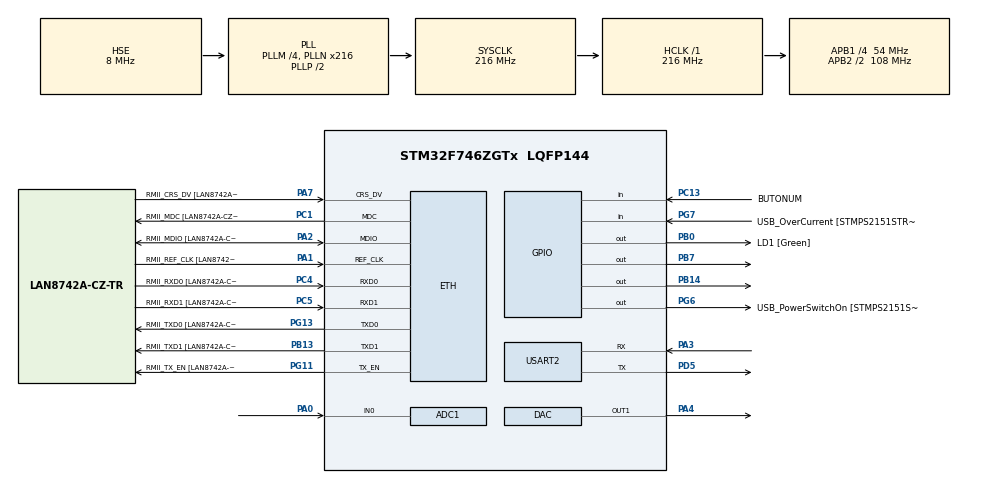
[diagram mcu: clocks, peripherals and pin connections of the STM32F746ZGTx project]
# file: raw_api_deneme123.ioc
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ADC1.Channel-0\#ChannelRegularConversion=ADC_CHANNEL_0
ADC1.NbrOfConversionFlag=1
ADC1.Rank-0\#ChannelRegularConversion=1
ADC1.SamplingTime-0\#ChannelRegularConversion=ADC_SAMPLETIME_15CYCLES
ADC1.master=1
CORTEX_M7.CPU_DCache=Enabled
CORTEX_M7.CPU_ICache=Enabled
CORTEX_M7.PREFETCH_ENABLE=1
CORTEX_M7.default_mode_Activation=0
ETH.MediaInterface=HAL_ETH_RMII_MODE
ETH.PHY_Name=LAN8742A_PHY_ADDRESS
ETH.PHY_Value=0
ETH.PhyAddress=0
LWIP.BSP.number=1
LWIP.GATEWAY_ADDRESS=192.168.088.001
LWIP.IP_ADDRESS=192.168.088.130
LWIP.LWIP_DHCP=0
LWIP.NETMASK_ADDRESS=255.255.255.000
LWIP.Version=v2.1.2_Cube
LWIP0.BSP.STBoard=false
LWIP0.BSP.api=BSP_COMPONENT_DRIVER
LWIP0.BSP.component=LAN8742
LWIP0.BSP.instance=LAN8742
LWIP0.BSP.name=Driver_PHY
LWIP0.BSP.semaphore=S_LAN8742
LWIP0.BSP.solution=LAN8742
Mcu.Family=STM32F7
Mcu.Name=STM32F746ZGTx
Mcu.Package=LQFP144
NVIC.PriorityGroup=NVIC_PRIORITYGROUP_4
PA0/WKUP.Signal=ADCx_IN0
PA1.GPIO_Label=RMII_REF_CLK [LAN8742A-CZ-TR_REFCLK0]
PA1.Mode=RMII
PA1.Signal=ETH_REF_CLK
PA10.GPIO_Label=USB_ID
PA10.Signal=USB_OTG_FS_ID
PA11.GPIO_Label=USB_DM
PA11.Signal=USB_OTG_FS_DM
PA12.GPIO_Label=USB_DP
PA12.Signal=USB_OTG_FS_DP
PA13.GPIO_Label=TMS
PA13.Mode=Serial_Wire
PA13.Signal=SYS_JTMS-SWDIO
PA14.GPIO_Label=TCK
PA14.Mode=Serial_Wire
PA14.Signal=SYS_JTCK-SWCLK
PA2.GPIO_Label=RMII_MDIO [LAN8742A-CZ-TR_MDIO]
PA2.Mode=RMII
PA2.Signal=ETH_MDIO
PA3.Mode=Asynchronous
PA3.Signal=USART2_RX
PA4.Signal=COMP_DAC1_group
PA7.GPIO_Label=RMII_CRS_DV [LAN8742A-CZ-TR_CRS_DV]
PA7.Mode=RMII
PA7.Signal=ETH_CRS_DV
PA8.GPIO_Label=USB_SOF [TP1]
PA8.Signal=USB_OTG_FS_SOF
PA9.GPIO_Label=USB_VBUS
PA9.Signal=USB_OTG_FS_VBUS
PB0.GPIO_Label=LD1 [Green]
PB0.Signal=GPIO_Output
PB13.GPIO_Label=RMII_TXD1 [LAN8742A-CZ-TR_TXD1]
PB13.Mode=RMII
PB13.Signal=ETH_TXD1
PB14.Signal=GPIO_Output
PB3.GPIO_Label=SW0
PB3.Signal=SYS_JTDO-SWO
PB7.Signal=GPIO_Output
PC1.GPIO_Label=RMII_MDC [LAN8742A-CZ-TR_MDC]
PC1.Mode=RMII
PC1.Signal=ETH_MDC
PC13.GPIO_Label=BUTONUM
PC13.Signal=GPIO_Input
PC14/OSC32_IN.Mode=LSE-External-Oscillator
PC14/OSC32_IN.Signal=RCC_OSC32_IN
PC15/OSC32_OUT.Mode=LSE-External-Oscillator
PC15/OSC32_OUT.Signal=RCC_OSC32_OUT
PC4.GPIO_Label=RMII_RXD0 [LAN8742A-CZ-TR_RXD0]
PC4.Mode=RMII
PC4.Signal=ETH_RXD0
PC5.GPIO_Label=RMII_RXD1 [LAN8742A-CZ-TR_RXD1]
PC5.Mode=RMII
PC5.Signal=ETH_RXD1
PD5.Mode=Asynchronous
PD5.Signal=USART2_TX
PD8.GPIO_Label=STLK_RX [STM32F103CBT6_PA3]
PD8.Signal=USART3_TX
PD9.GPIO_Label=STLK_TX [STM32F103CBT6_PA2]
PD9.Signal=USART3_RX
PG11.GPIO_Label=RMII_TX_EN [LAN8742A-CZ-TR_TXEN]
PG11.Mode=RMII
PG11.Signal=ETH_TX_EN
PG13.GPIO_Label=RMII_TXD0 [LAN8742A-CZ-TR_TXD0]
PG13.Mode=RMII
PG13.Signal=ETH_TXD0
PG6.GPIO_Label=USB_PowerSwitchOn [STMPS2151STR_EN]
PG6.Signal=GPIO_Output
PG7.GPIO_Label=USB_OverCurrent [STMPS2151STR_FAULT]
PG7.Signal=GPIO_Input
PH0/OSC_IN.GPIO_Label=MCO [STM32F103CBT6_PA8]
PH0/OSC_IN.Mode=HSE-External-Clock-Source
PH0/OSC_IN.Signal=RCC_OSC_IN
PH1/OSC_OUT.Mode=HSE-External-Clock-Source
PH1/OSC_OUT.Signal=RCC_OSC_OUT
ProjectManager.HeapSize=0x200
ProjectManager.StackSize=0x400
ProjectManager.TargetToolchain=STM32CubeIDE
RCC.48MHZClocksFreq_Value=24000000
RCC.AHBFreq_Value=216000000
RCC.APB1CLKDivider=RCC_HCLK_DIV4
RCC.APB1Freq_Value=54000000
RCC.APB1TimFreq_Value=108000000
RCC.APB2CLKDivider=RCC_HCLK_DIV2
RCC.APB2Freq_Value=108000000
RCC.APB2TimFreq_Value=216000000
RCC.CortexFreq_Value=216000000
RCC.HCLKFreq_Value=216000000
RCC.HSE_VALUE=8000000
RCC.HSI_VALUE=16000000
RCC.PLLM=4
RCC.PLLMUL=RCC_PLL_MUL9
RCC.PLLN=216
RCC.PLLQ=9
RCC.PLLSourceVirtual=RCC_PLLSOURCE_HSE
RCC.PRESCALERUSB=RCC_USBCLKSOURCE_PLL_DIV1_5
RCC.SYSCLKFreq_VALUE=216000000
RCC.SYSCLKSource=RCC_SYSCLKSOURCE_PLLCLK
RCC.SYSCLKSourceVirtual=RCC_SYSCLKSOURCE_PLLCLK
RCC.USBFreq_Value=48000000
RCC.VCOOutputFreq_Value=432000000
SH.ADCx_IN0.0=ADC1_IN0,IN0
SH.COMP_DAC1_group.0=DAC_OUT1,DAC_OUT1
USART2.VirtualMode-Asynchronous=VM_ASYNC
VP_LWIP_VS_Enabled.Mode=Enabled
board=NUCLEO-F746ZG

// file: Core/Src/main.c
/* USER CODE BEGIN Header */
/**
  ******************************************************************************
  * @file           : main.c
  * @brief          : Main program body
  ******************************************************************************
  * @attention
  *
  * Copyright (c) 2022 STMicroelectronics.
  * All rights reserved.
  *
  * This software is licensed under terms that can be found in the LICENSE file
  * in the root directory of this software component.
  * If no LICENSE file comes with this software, it is provided AS-IS.
  *
  ******************************************************************************
  */
/* USER CODE END Header */
#include "main.h"
#include "lwip.h"

/* USER CODE BEGIN Includes */
#include "tcpClientRAW.h"
#include "tcpServerRAW.h"
#include <string.h>
#include <stdio.h>
/* USER CODE END Includes */

ADC_HandleTypeDef hadc1;

DAC_HandleTypeDef hdac;

UART_HandleTypeDef huart2;

void SystemClock_Config(void);
static void MX_GPIO_Init(void);
static void MX_DAC_Init(void);
static void MX_ADC1_Init(void);
static void MX_USART2_UART_Init(void);

/* USER CODE BEGIN 0 */
float value=0.2;
uint32_t var;
uint16_t voltage=0;
char msg[20];

/* USER CODE END 0 */

int main(void)
{

  /* Enable the CPU Cache */

  /* Enable I-Cache---------------------------------------------------------*/
  SCB_EnableICache();

  /* Enable D-Cache---------------------------------------------------------*/
  SCB_EnableDCache();

  /* MCU Configuration--------------------------------------------------------*/

  /* Reset of all peripherals, Initializes the Flash interface and the Systick. */
  HAL_Init();

  /* Configure the system clock */
  SystemClock_Config();

  /* Initialize all configured peripherals */
  MX_GPIO_Init();
  MX_LWIP_Init();
  MX_DAC_Init();
  MX_ADC1_Init();
  MX_USART2_UART_Init();

  /* Infinite loop */
  while (1)
  {

    /* USER CODE BEGIN 3 */
	  HAL_DAC_Start(&hdac, DAC1_CHANNEL_1);
	  HAL_ADC_Start(&hadc1);

	  HAL_ADC_PollForConversion(&hadc1, 20);
	  voltage= HAL_ADC_GetValue(&hadc1);

	  HAL_ADC_Stop(&hadc1);
//	  if (voltage!=0) HAL_GPIO_WritePin(GPIOB, GPIO_PIN_7,1);

	  var = value*(4096)/3.3;

	  HAL_DAC_SetValue(&hdac, DAC1_CHANNEL_1, DAC_ALIGN_12B_R, var);
	  value+=0.2;
	  HAL_Delay(250);
	  if (value>3) value=0.2;
	  MX_LWIP_Process();
	  if(HAL_GPIO_ReadPin(BUTONUM_GPIO_Port, BUTONUM_Pin) == GPIO_PIN_SET ){
		  	  tcp_client_init();
	  		  HAL_Delay(500);
	  	  }

	  /*tcp_client_data_sender();*/
  }
  /* USER CODE END 3 */
}

void SystemClock_Config(void)
{
  RCC_OscInitTypeDef RCC_OscInitStruct = {0};
  RCC_ClkInitTypeDef RCC_ClkInitStruct = {0};

  /** Configure LSE Drive Capability
  */
  HAL_PWR_EnableBkUpAccess();

  /** Configure the main internal regulator output voltage
  */
  __HAL_RCC_PWR_CLK_ENABLE();
  __HAL_PWR_VOLTAGESCALING_CONFIG(PWR_REGULATOR_VOLTAGE_SCALE1);

  /** Initializes the RCC Oscillators according to the specified parameters
  * in the RCC_OscInitTypeDef structure.
  */
  RCC_OscInitStruct.OscillatorType = RCC_OSCILLATORTYPE_HSE;
  RCC_OscInitStruct.HSEState = RCC_HSE_BYPASS;
  RCC_OscInitStruct.PLL.PLLState = RCC_PLL_ON;
  RCC_OscInitStruct.PLL.PLLSource = RCC_PLLSOURCE_HSE;
  RCC_OscInitStruct.PLL.PLLM = 4;
  RCC_OscInitStruct.PLL.PLLN = 216;
  RCC_OscInitStruct.PLL.PLLP = RCC_PLLP_DIV2;
  RCC_OscInitStruct.PLL.PLLQ = 9;
  if (HAL_RCC_OscConfig(&RCC_OscInitStruct) != HAL_OK)
  {
    Error_Handler();
  }

  /** Activate the Over-Drive mode
  */
  if (HAL_PWREx_EnableOverDrive() != HAL_OK)
  {
    Error_Handler();
  }

  /** Initializes the CPU, AHB and APB buses clocks
  */
  RCC_ClkInitStruct.ClockType = RCC_CLOCKTYPE_HCLK|RCC_CLOCKTYPE_SYSCLK
                              |RCC_CLOCKTYPE_PCLK1|RCC_CLOCKTYPE_PCLK2;
  RCC_ClkInitStruct.SYSCLKSource = RCC_SYSCLKSOURCE_PLLCLK;
  RCC_ClkInitStruct.AHBCLKDivider = RCC_SYSCLK_DIV1;
  RCC_ClkInitStruct.APB1CLKDivider = RCC_HCLK_DIV4;
  RCC_ClkInitStruct.APB2CLKDivider = RCC_HCLK_DIV2;

  if (HAL_RCC_ClockConfig(&RCC_ClkInitStruct, FLASH_LATENCY_7) != HAL_OK)
  {
    Error_Handler();
  }
}

static void MX_ADC1_Init(void)
{

  ADC_ChannelConfTypeDef sConfig = {0};

  /** Configure the global features of the ADC (Clock, Resolution, Data Alignment and number of conversion)
  */
  hadc1.Instance = ADC1;
  hadc1.Init.ClockPrescaler = ADC_CLOCK_SYNC_PCLK_DIV4;
  hadc1.Init.Resolution = ADC_RESOLUTION_12B;
  hadc1.Init.ScanConvMode = ADC_SCAN_DISABLE;
  hadc1.Init.ContinuousConvMode = DISABLE;
  hadc1.Init.DiscontinuousConvMode = DISABLE;
  hadc1.Init.ExternalTrigConvEdge = ADC_EXTERNALTRIGCONVEDGE_NONE;
  hadc1.Init.ExternalTrigConv = ADC_SOFTWARE_START;
  hadc1.Init.DataAlign = ADC_DATAALIGN_RIGHT;
  hadc1.Init.NbrOfConversion = 1;
  hadc1.Init.DMAContinuousRequests = DISABLE;
  hadc1.Init.EOCSelection = ADC_EOC_SINGLE_CONV;
  if (HAL_ADC_Init(&hadc1) != HAL_OK)
  {
    Error_Handler();
  }

  /** Configure for the selected ADC regular channel its corresponding rank in the sequencer and its sample time.
  */
  sConfig.Channel = ADC_CHANNEL_0;
  sConfig.Rank = ADC_REGULAR_RANK_1;
  sConfig.SamplingTime = ADC_SAMPLETIME_15CYCLES;
  if (HAL_ADC_ConfigChannel(&hadc1, &sConfig) != HAL_OK)
  {
    Error_Handler();
  }

}

static void MX_DAC_Init(void)
{

  DAC_ChannelConfTypeDef sConfig = {0};

  /** DAC Initialization
  */
  hdac.Instance = DAC;
  if (HAL_DAC_Init(&hdac) != HAL_OK)
  {
    Error_Handler();
  }

  /** DAC channel OUT1 config
  */
  sConfig.DAC_Trigger = DAC_TRIGGER_NONE;
  sConfig.DAC_OutputBuffer = DAC_OUTPUTBUFFER_ENABLE;
  if (HAL_DAC_ConfigChannel(&hdac, &sConfig, DAC_CHANNEL_1) != HAL_OK)
  {
    Error_Handler();
  }

}

static void MX_USART2_UART_Init(void)
{

  huart2.Instance = USART2;
  huart2.Init.BaudRate = 115200;
  huart2.Init.WordLength = UART_WORDLENGTH_8B;
  huart2.Init.StopBits = UART_STOPBITS_1;
  huart2.Init.Parity = UART_PARITY_NONE;
  huart2.Init.Mode = UART_MODE_TX_RX;
  huart2.Init.HwFlowCtl = UART_HWCONTROL_NONE;
  huart2.Init.OverSampling = UART_OVERSAMPLING_16;
  huart2.Init.OneBitSampling = UART_ONE_BIT_SAMPLE_DISABLE;
  huart2.AdvancedInit.AdvFeatureInit = UART_ADVFEATURE_NO_INIT;
  if (HAL_UART_Init(&huart2) != HAL_OK)
  {
    Error_Handler();
  }

}

static void MX_GPIO_Init(void)
{
  GPIO_InitTypeDef GPIO_InitStruct = {0};

  /* GPIO Ports Clock Enable */
  __HAL_RCC_GPIOC_CLK_ENABLE();
  __HAL_RCC_GPIOH_CLK_ENABLE();
  __HAL_RCC_GPIOA_CLK_ENABLE();
  __HAL_RCC_GPIOB_CLK_ENABLE();
  __HAL_RCC_GPIOD_CLK_ENABLE();
  __HAL_RCC_GPIOG_CLK_ENABLE();

  /*Configure GPIO pin Output Level */
  HAL_GPIO_WritePin(GPIOB, LD1_Pin|GPIO_PIN_14|GPIO_PIN_7, GPIO_PIN_RESET);

  /*Configure GPIO pin Output Level */
  HAL_GPIO_WritePin(USB_PowerSwitchOn_GPIO_Port, USB_PowerSwitchOn_Pin, GPIO_PIN_RESET);

  /*Configure GPIO pin : BUTONUM_Pin */
  GPIO_InitStruct.Pin = BUTONUM_Pin;
  GPIO_InitStruct.Mode = GPIO_MODE_INPUT;
  GPIO_InitStruct.Pull = GPIO_NOPULL;
  HAL_GPIO_Init(BUTONUM_GPIO_Port, &GPIO_InitStruct);

  /*Configure GPIO pins : LD1_Pin PB14 PB7 */
  GPIO_InitStruct.Pin = LD1_Pin|GPIO_PIN_14|GPIO_PIN_7;
  GPIO_InitStruct.Mode = GPIO_MODE_OUTPUT_PP;
  GPIO_InitStruct.Pull = GPIO_NOPULL;
  GPIO_InitStruct.Speed = GPIO_SPEED_FREQ_LOW;
  HAL_GPIO_Init(GPIOB, &GPIO_InitStruct);

  /*Configure GPIO pins : STLK_RX_Pin STLK_TX_Pin */
  GPIO_InitStruct.Pin = STLK_RX_Pin|STLK_TX_Pin;
  GPIO_InitStruct.Mode = GPIO_MODE_AF_PP;
  GPIO_InitStruct.Pull = GPIO_NOPULL;
  GPIO_InitStruct.Speed = GPIO_SPEED_FREQ_VERY_HIGH;
  GPIO_InitStruct.Alternate = GPIO_AF7_USART3;
  HAL_GPIO_Init(GPIOD, &GPIO_InitStruct);

  /*Configure GPIO pin : USB_PowerSwitchOn_Pin */
  GPIO_InitStruct.Pin = USB_PowerSwitchOn_Pin;
  GPIO_InitStruct.Mode = GPIO_MODE_OUTPUT_PP;
  GPIO_InitStruct.Pull = GPIO_NOPULL;
  GPIO_InitStruct.Speed = GPIO_SPEED_FREQ_LOW;
  HAL_GPIO_Init(USB_PowerSwitchOn_GPIO_Port, &GPIO_InitStruct);

  /*Configure GPIO pin : USB_OverCurrent_Pin */
  GPIO_InitStruct.Pin = USB_OverCurrent_Pin;
  GPIO_InitStruct.Mode = GPIO_MODE_INPUT;
  GPIO_InitStruct.Pull = GPIO_NOPULL;
  HAL_GPIO_Init(USB_OverCurrent_GPIO_Port, &GPIO_InitStruct);

  /*Configure GPIO pins : USB_SOF_Pin USB_ID_Pin USB_DM_Pin USB_DP_Pin */
  GPIO_InitStruct.Pin = USB_SOF_Pin|USB_ID_Pin|USB_DM_Pin|USB_DP_Pin;
  GPIO_InitStruct.Mode = GPIO_MODE_AF_PP;
  GPIO_InitStruct.Pull = GPIO_NOPULL;
  GPIO_InitStruct.Speed = GPIO_SPEED_FREQ_VERY_HIGH;
  GPIO_InitStruct.Alternate = GPIO_AF10_OTG_FS;
  HAL_GPIO_Init(GPIOA, &GPIO_InitStruct);

  /*Configure GPIO pin : USB_VBUS_Pin */
  GPIO_InitStruct.Pin = USB_VBUS_Pin;
  GPIO_InitStruct.Mode = GPIO_MODE_INPUT;
  GPIO_InitStruct.Pull = GPIO_NOPULL;
  HAL_GPIO_Init(USB_VBUS_GPIO_Port, &GPIO_InitStruct);

}

void Error_Handler(void)
{
  __disable_irq();
  while (1)
  {
  }
}
